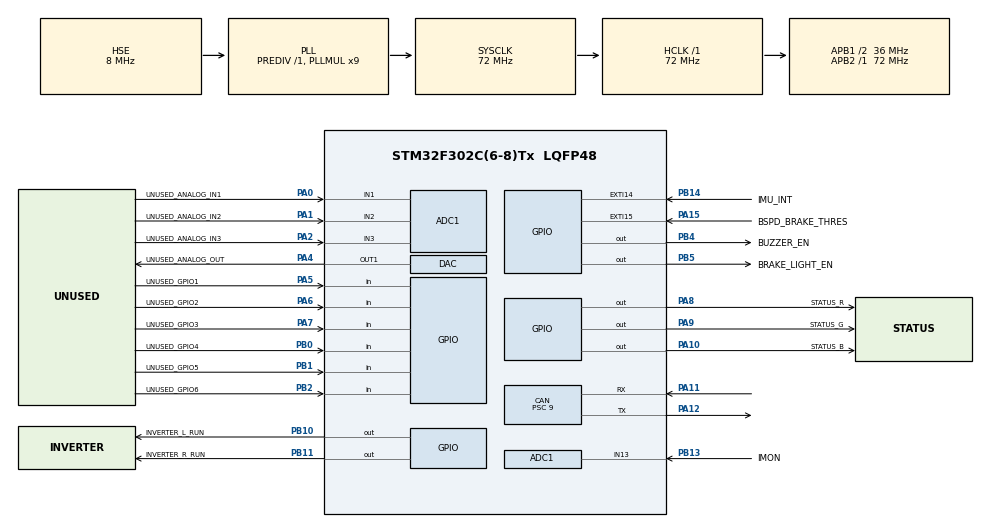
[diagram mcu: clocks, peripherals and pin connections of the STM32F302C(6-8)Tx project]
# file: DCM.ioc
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ADC1.Channel-0\#ChannelRegularConversion=ADC_CHANNEL_1
ADC1.NbrOfConversionFlag=1
ADC1.Offset-0\#ChannelRegularConversion=0
ADC1.OffsetNumber-0\#ChannelRegularConversion=ADC_OFFSET_NONE
ADC1.Rank-0\#ChannelRegularConversion=1
ADC1.SamplingTime-0\#ChannelRegularConversion=ADC_SAMPLETIME_1CYCLE_5
ADC1.SubFamily=STM32F302x8
ADC1.master=1
CAN.ABOM=ENABLE
CAN.BS1=CAN_BS1_6TQ
CAN.CalculateTimeQuantum=250.0
CAN.NART=ENABLE
CAN.Prescaler=9
CAN.RFLM=ENABLE
CAN.SJW=CAN_SJW_4TQ
CAN.TXFP=ENABLE
FREERTOS.INCLUDE_vTaskDelayUntil=1
FREERTOS.MEMORY_ALLOCATION=1
FREERTOS.Tasks01=Task1Hz,0,128,RunTask1Hz,Default,NULL,Static,Task1HzBuffer,Task1HzControlBlock;Task1kHz,0,128,RunTask1kHz,Default,NULL,Static,Task1kHzBuffer,Task1kHzControlBlock
FREERTOS.configUSE_TRACE_FACILITY=1
IWDG.Reload=LSI_FREQUENCY / IWDG_PRESCALER / IWDG_RESET_FREQUENCY
IWDG.Window=IWDG_WINDOW_DISABLE_VALUE
Mcu.Family=STM32F3
Mcu.Name=STM32F302C(6-8)Tx
Mcu.Package=LQFP48
Mcu.UserConstants=IWDG_WINDOW_DISABLE_VALUE,4095;LSI_FREQUENCY,40000;IWDG_PRESCALER,4;IWDG_RESET_FREQUENCY,5
NVIC.CAN_RX1_IRQn=true\:5\:0\:false\:false\:true\:true\:true\:true
NVIC.PriorityGroup=NVIC_PRIORITYGROUP_4
NVIC.TIM2_IRQn=true\:0\:0\:false\:false\:true\:false\:false\:true
NVIC.TimeBase=TIM2_IRQn
NVIC.TimeBaseIP=TIM2
NVIC.USB_HP_CAN_TX_IRQn=true\:5\:0\:false\:false\:true\:true\:true\:true
NVIC.USB_LP_CAN_RX0_IRQn=true\:5\:0\:false\:false\:true\:true\:true\:true
PA0.GPIO_Label=UNUSED_ANALOG_IN1
PA0.Mode=IN1-Single-Ended
PA0.Signal=ADC1_IN1
PA1.GPIO_Label=UNUSED_ANALOG_IN2
PA1.Mode=IN2-Single-Ended
PA1.Signal=ADC1_IN2
PA10.GPIO_Label=STATUS_B
PA10.GPIO_ModeDefaultOutputPP=GPIO_MODE_OUTPUT_OD
PA10.GPIO_PuPd=GPIO_PULLUP
PA10.PinState=GPIO_PIN_SET
PA10.Signal=GPIO_Output
PA11.Mode=Master
PA11.Signal=CAN_RX
PA12.Mode=Master
PA12.Signal=CAN_TX
PA13.Mode=Serial_Wire
PA13.Signal=SYS_JTMS-SWDIO
PA14.Mode=Serial_Wire
PA14.Signal=SYS_JTCK-SWCLK
PA15.GPIO_Label=BSPD_BRAKE_THRES
PA15.Signal=GPXTI15
PA2.GPIO_Label=UNUSED_ANALOG_IN3
PA2.Mode=IN3-Single-Ended
PA2.Signal=ADC1_IN3
PA4.GPIO_Label=UNUSED_ANALOG_OUT
PA4.Signal=COMP_DAC1_group
PA5.GPIO_Label=UNUSED_GPIO1
PA5.Signal=GPIO_Input
PA6.GPIO_Label=UNUSED_GPIO2
PA6.Signal=GPIO_Input
PA7.GPIO_Label=UNUSED_GPIO3
PA7.Signal=GPIO_Input
PA8.GPIO_Label=STATUS_R
PA8.GPIO_ModeDefaultOutputPP=GPIO_MODE_OUTPUT_OD
PA8.GPIO_PuPd=GPIO_PULLUP
PA8.PinState=GPIO_PIN_SET
PA8.Signal=GPIO_Output
PA9.GPIO_Label=STATUS_G
PA9.GPIO_ModeDefaultOutputPP=GPIO_MODE_OUTPUT_OD
PA9.GPIO_PuPd=GPIO_PULLUP
PA9.PinState=GPIO_PIN_SET
PA9.Signal=GPIO_Output
PB0.GPIO_Label=UNUSED_GPIO4
PB0.Signal=GPIO_Input
PB1.GPIO_Label=UNUSED_GPIO5
PB1.Signal=GPIO_Input
PB10.GPIO_Label=INVERTER_L_RUN
PB10.Signal=GPIO_Output
PB11.GPIO_Label=INVERTER_R_RUN
PB11.Signal=GPIO_Output
PB13.GPIO_Label=IMON
PB13.Mode=IN13-Single-Ended
PB13.Signal=ADC1_IN13
PB14.GPIO_Label=IMU_INT
PB14.Signal=GPXTI14
PB2.GPIO_Label=UNUSED_GPIO6
PB2.Signal=GPIO_Input
PB3.Signal=SYS_JTDO-TRACESWO
PB4.GPIO_Label=BUZZER_EN
PB4.Signal=GPIO_Output
PB5.GPIO_Label=BRAKE_LIGHT_EN
PB5.Signal=GPIO_Output
PB6.Signal=I2C1_SCL
PB7.Signal=I2C1_SDA
PC14\ -\ OSC32_IN.Mode=LSE-External-Oscillator
PC14\ -\ OSC32_IN.Signal=RCC_OSC32_IN
PC15\ -\ OSC32_OUT.Mode=LSE-External-Oscillator
PC15\ -\ OSC32_OUT.Signal=RCC_OSC32_OUT
PF0-OSC_IN.Mode=HSE-External-Oscillator
PF0-OSC_IN.Signal=RCC_OSC_IN
PF1-OSC_OUT.Mode=HSE-External-Oscillator
PF1-OSC_OUT.Signal=RCC_OSC_OUT
ProjectManager.HeapSize=0x0
ProjectManager.StackSize=0x400
ProjectManager.TargetToolchain=SW4STM32
RCC.AHBFreq_Value=72000000
RCC.APB1CLKDivider=RCC_HCLK_DIV2
RCC.APB1Freq_Value=36000000
RCC.APB1TimFreq_Value=72000000
RCC.APB2Freq_Value=72000000
RCC.APB2TimFreq_Value=72000000
RCC.CortexFreq_Value=72000000
RCC.HCLKFreq_Value=72000000
RCC.HSE_VALUE=8000000
RCC.HSI_VALUE=8000000
RCC.PLLMUL=RCC_PLL_MUL9
RCC.PLLSourceVirtual=RCC_PLLSOURCE_HSE
RCC.SYSCLKFreq_VALUE=72000000
RCC.SYSCLKSourceVirtual=RCC_SYSCLKSOURCE_PLLCLK
RCC.USBFreq_Value=72000000
SH.COMP_DAC1_group.0=DAC_OUT1,DAC_OUT1
VP_FREERTOS_VS_CMSIS_V1.Mode=CMSIS_V1
VP_IWDG_VS_IWDG.Mode=IWDG_Activate
VP_SYS_VS_tim2.Mode=TIM2
board=custom

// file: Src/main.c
/* USER CODE BEGIN Header */
/**
 ******************************************************************************
 * @file           : main.c
 * @brief          : Main program body
 ******************************************************************************
 * @attention
 *
 * <h2><center>&copy; Copyright (c) 2019 STMicroelectronics.
 * All rights reserved.</center></h2>
 *
 * This software component is licensed by ST under Ultimate Liberty license
 * SLA0044, the "License"; You may not use this file except in compliance with
 * the License. You may obtain a copy of the License at:
 *                             www.st.com/SLA0044
 *
 ******************************************************************************
 */
/* USER CODE END Header */

#include "main.h"
#include "cmsis_os.h"

/* USER CODE BEGIN Includes */
#include "SharedWatchdog.h"
#include "SharedConstants.h"
#include "SharedCmsisOs.h"
#include "SharedCan.h"
#include "SharedHeartbeat.h"
#include "Io_Can.h"
/* USER CODE END Includes */

ADC_HandleTypeDef hadc1;

CAN_HandleTypeDef hcan;

DAC_HandleTypeDef hdac;

IWDG_HandleTypeDef hiwdg;

osThreadId          Task1HzHandle;
uint32_t            Task1HzBuffer[128];
osStaticThreadDef_t Task1HzControlBlock;
osThreadId          Task1kHzHandle;
uint32_t            Task1kHzBuffer[128];
osStaticThreadDef_t Task1kHzControlBlock;

void        SystemClock_Config(void);
static void MX_GPIO_Init(void);
static void MX_ADC1_Init(void);
static void MX_CAN_Init(void);
static void MX_DAC_Init(void);
static void MX_IWDG_Init(void);
void        RunTask1Hz(void const *argument);
void        RunTask1kHz(void const *argument);

int main(void)
{
    /* USER CODE BEGIN 1 */
    __HAL_DBGMCU_FREEZE_IWDG();
    /* USER CODE END 1 */

    /* MCU
     * Configuration--------------------------------------------------------*/

    /* Reset of all peripherals, Initializes the Flash interface and the
     * Systick. */
    HAL_Init();

    /* Configure the system clock */
    SystemClock_Config();

    /* Initialize all configured peripherals */
    MX_GPIO_Init();
    MX_ADC1_Init();
    MX_CAN_Init();
    MX_DAC_Init();
    MX_IWDG_Init();

    /* Create the thread(s) */
    /* definition and creation of Task1Hz */
    osThreadStaticDef(
        Task1Hz, RunTask1Hz, osPriorityNormal, 0, 128, Task1HzBuffer,
        &Task1HzControlBlock);
    Task1HzHandle = osThreadCreate(osThread(Task1Hz), NULL);

    /* definition and creation of Task1kHz */
    osThreadStaticDef(
        Task1kHz, RunTask1kHz, osPriorityNormal, 0, 128, Task1kHzBuffer,
        &Task1kHzControlBlock);
    Task1kHzHandle = osThreadCreate(osThread(Task1kHz), NULL);

    /* USER CODE BEGIN RTOS_THREADS */
    /* add threads, ... */
    // According to Percpio documentation, vTraceEnable() should be the last
    // function call before the scheduler starts.
#if (configUSE_TRACE_FACILITY == 1)
    vTraceEnable(TRC_INIT);
#endif
    /* USER CODE END RTOS_THREADS */

    /* Start scheduler */
    osKernelStart();

    /* We should never get here as control is now taken by the scheduler */

    /* Infinite loop */
    while (1)
    {

    }
}

void SystemClock_Config(void)
{
    RCC_OscInitTypeDef       RCC_OscInitStruct = { 0 };
    RCC_ClkInitTypeDef       RCC_ClkInitStruct = { 0 };
    RCC_PeriphCLKInitTypeDef PeriphClkInit     = { 0 };

    /** Initializes the CPU, AHB and APB busses clocks
     */
    RCC_OscInitStruct.OscillatorType =
        RCC_OSCILLATORTYPE_LSI | RCC_OSCILLATORTYPE_HSE;
    RCC_OscInitStruct.HSEState       = RCC_HSE_ON;
    RCC_OscInitStruct.HSEPredivValue = RCC_HSE_PREDIV_DIV1;
    RCC_OscInitStruct.HSIState       = RCC_HSI_ON;
    RCC_OscInitStruct.LSIState       = RCC_LSI_ON;
    RCC_OscInitStruct.PLL.PLLState   = RCC_PLL_ON;
    RCC_OscInitStruct.PLL.PLLSource  = RCC_PLLSOURCE_HSE;
    RCC_OscInitStruct.PLL.PLLMUL     = RCC_PLL_MUL9;
    if (HAL_RCC_OscConfig(&RCC_OscInitStruct) != HAL_OK)
    {
        Error_Handler();
    }
    /** Initializes the CPU, AHB and APB busses clocks
     */
    RCC_ClkInitStruct.ClockType = RCC_CLOCKTYPE_HCLK | RCC_CLOCKTYPE_SYSCLK |
                                  RCC_CLOCKTYPE_PCLK1 | RCC_CLOCKTYPE_PCLK2;
    RCC_ClkInitStruct.SYSCLKSource   = RCC_SYSCLKSOURCE_PLLCLK;
    RCC_ClkInitStruct.AHBCLKDivider  = RCC_SYSCLK_DIV1;
    RCC_ClkInitStruct.APB1CLKDivider = RCC_HCLK_DIV2;
    RCC_ClkInitStruct.APB2CLKDivider = RCC_HCLK_DIV1;

    if (HAL_RCC_ClockConfig(&RCC_ClkInitStruct, FLASH_LATENCY_2) != HAL_OK)
    {
        Error_Handler();
    }
    PeriphClkInit.PeriphClockSelection = RCC_PERIPHCLK_ADC1;
    PeriphClkInit.Adc1ClockSelection   = RCC_ADC1PLLCLK_DIV1;

    if (HAL_RCCEx_PeriphCLKConfig(&PeriphClkInit) != HAL_OK)
    {
        Error_Handler();
    }
}

static void MX_ADC1_Init(void)
{

    ADC_ChannelConfTypeDef sConfig = { 0 };

    /** Common config
     */
    hadc1.Instance                   = ADC1;
    hadc1.Init.ClockPrescaler        = ADC_CLOCK_ASYNC_DIV1;
    hadc1.Init.Resolution            = ADC_RESOLUTION_12B;
    hadc1.Init.ScanConvMode          = ADC_SCAN_DISABLE;
    hadc1.Init.ContinuousConvMode    = DISABLE;
    hadc1.Init.DiscontinuousConvMode = DISABLE;
    hadc1.Init.ExternalTrigConvEdge  = ADC_EXTERNALTRIGCONVEDGE_NONE;
    hadc1.Init.ExternalTrigConv      = ADC_SOFTWARE_START;
    hadc1.Init.DataAlign             = ADC_DATAALIGN_RIGHT;
    hadc1.Init.NbrOfConversion       = 1;
    hadc1.Init.DMAContinuousRequests = DISABLE;
    hadc1.Init.EOCSelection          = ADC_EOC_SINGLE_CONV;
    hadc1.Init.LowPowerAutoWait      = DISABLE;
    hadc1.Init.Overrun               = ADC_OVR_DATA_OVERWRITTEN;
    if (HAL_ADC_Init(&hadc1) != HAL_OK)
    {
        Error_Handler();
    }
    /** Configure Regular Channel
     */
    sConfig.Channel      = ADC_CHANNEL_1;
    sConfig.Rank         = ADC_REGULAR_RANK_1;
    sConfig.SingleDiff   = ADC_SINGLE_ENDED;
    sConfig.SamplingTime = ADC_SAMPLETIME_1CYCLE_5;
    sConfig.OffsetNumber = ADC_OFFSET_NONE;
    sConfig.Offset       = 0;
    if (HAL_ADC_ConfigChannel(&hadc1, &sConfig) != HAL_OK)
    {
        Error_Handler();
    }
}

static void MX_CAN_Init(void)
{

    hcan.Instance                  = CAN;
    hcan.Init.Prescaler            = 9;
    hcan.Init.Mode                 = CAN_MODE_NORMAL;
    hcan.Init.SyncJumpWidth        = CAN_SJW_4TQ;
    hcan.Init.TimeSeg1             = CAN_BS1_6TQ;
    hcan.Init.TimeSeg2             = CAN_BS2_1TQ;
    hcan.Init.TimeTriggeredMode    = DISABLE;
    hcan.Init.AutoBusOff           = ENABLE;
    hcan.Init.AutoWakeUp           = DISABLE;
    hcan.Init.AutoRetransmission   = ENABLE;
    hcan.Init.ReceiveFifoLocked    = ENABLE;
    hcan.Init.TransmitFifoPriority = ENABLE;
    if (HAL_CAN_Init(&hcan) != HAL_OK)
    {
        Error_Handler();
    }
    /* USER CODE BEGIN CAN_Init 2 */
    SharedCan_StartCanInInterruptMode(
        &hcan, Io_Can_GetCanMaskFilters(), Io_Can_GetNumberOfCanMaskFilters());
    /* USER CODE END CAN_Init 2 */
}

static void MX_DAC_Init(void)
{

    DAC_ChannelConfTypeDef sConfig = { 0 };

    /** DAC Initialization
     */
    hdac.Instance = DAC;
    if (HAL_DAC_Init(&hdac) != HAL_OK)
    {
        Error_Handler();
    }
    /** DAC channel OUT1 config
     */
    sConfig.DAC_Trigger      = DAC_TRIGGER_NONE;
    sConfig.DAC_OutputBuffer = DAC_OUTPUTBUFFER_ENABLE;
    if (HAL_DAC_ConfigChannel(&hdac, &sConfig, DAC_CHANNEL_1) != HAL_OK)
    {
        Error_Handler();
    }
}

static void MX_IWDG_Init(void)
{

    hiwdg.Instance       = IWDG;
    hiwdg.Init.Prescaler = IWDG_PRESCALER_4;
    hiwdg.Init.Window    = IWDG_WINDOW_DISABLE_VALUE;
    hiwdg.Init.Reload = LSI_FREQUENCY / IWDG_PRESCALER / IWDG_RESET_FREQUENCY;
    if (HAL_IWDG_Init(&hiwdg) != HAL_OK)
    {
        Error_Handler();
    }
    /* USER CODE BEGIN IWDG_Init 2 */
    SharedWatchdog_SetIwdgInitialized(&hiwdg);
    /* USER CODE END IWDG_Init 2 */
}

static void MX_GPIO_Init(void)
{
    GPIO_InitTypeDef GPIO_InitStruct = { 0 };

    /* GPIO Ports Clock Enable */
    __HAL_RCC_GPIOC_CLK_ENABLE();
    __HAL_RCC_GPIOF_CLK_ENABLE();
    __HAL_RCC_GPIOA_CLK_ENABLE();
    __HAL_RCC_GPIOB_CLK_ENABLE();

    /*Configure GPIO pin Output Level */
    HAL_GPIO_WritePin(
        GPIOB,
        INVERTER_L_RUN_Pin | INVERTER_R_RUN_Pin | BUZZER_EN_Pin |
            BRAKE_LIGHT_EN_Pin,
        GPIO_PIN_RESET);

    /*Configure GPIO pin Output Level */
    HAL_GPIO_WritePin(
        GPIOA, STATUS_R_Pin | STATUS_G_Pin | STATUS_B_Pin, GPIO_PIN_SET);

    /*Configure GPIO pin : PC13 */
    GPIO_InitStruct.Pin  = GPIO_PIN_13;
    GPIO_InitStruct.Mode = GPIO_MODE_ANALOG;
    GPIO_InitStruct.Pull = GPIO_NOPULL;
    HAL_GPIO_Init(GPIOC, &GPIO_InitStruct);

    /*Configure GPIO pin : PA3 */
    GPIO_InitStruct.Pin  = GPIO_PIN_3;
    GPIO_InitStruct.Mode = GPIO_MODE_ANALOG;
    GPIO_InitStruct.Pull = GPIO_NOPULL;
    HAL_GPIO_Init(GPIOA, &GPIO_InitStruct);

    /*Configure GPIO pins : UNUSED_GPIO1_Pin UNUSED_GPIO2_Pin UNUSED_GPIO3_Pin
     */
    GPIO_InitStruct.Pin =
        UNUSED_GPIO1_Pin | UNUSED_GPIO2_Pin | UNUSED_GPIO3_Pin;
    GPIO_InitStruct.Mode = GPIO_MODE_INPUT;
    GPIO_InitStruct.Pull = GPIO_NOPULL;
    HAL_GPIO_Init(GPIOA, &GPIO_InitStruct);

    /*Configure GPIO pins : UNUSED_GPIO4_Pin UNUSED_GPIO5_Pin UNUSED_GPIO6_Pin
     */
    GPIO_InitStruct.Pin =
        UNUSED_GPIO4_Pin | UNUSED_GPIO5_Pin | UNUSED_GPIO6_Pin;
    GPIO_InitStruct.Mode = GPIO_MODE_INPUT;
    GPIO_InitStruct.Pull = GPIO_NOPULL;
    HAL_GPIO_Init(GPIOB, &GPIO_InitStruct);

    /*Configure GPIO pins : INVERTER_L_RUN_Pin INVERTER_R_RUN_Pin BUZZER_EN_Pin
     * BRAKE_LIGHT_EN_Pin */
    GPIO_InitStruct.Pin = INVERTER_L_RUN_Pin | INVERTER_R_RUN_Pin |
                          BUZZER_EN_Pin | BRAKE_LIGHT_EN_Pin;
    GPIO_InitStruct.Mode  = GPIO_MODE_OUTPUT_PP;
    GPIO_InitStruct.Pull  = GPIO_NOPULL;
    GPIO_InitStruct.Speed = GPIO_SPEED_FREQ_LOW;
    HAL_GPIO_Init(GPIOB, &GPIO_InitStruct);

    /*Configure GPIO pins : PB12 PB15 PB8 PB9 */
    GPIO_InitStruct.Pin  = GPIO_PIN_12 | GPIO_PIN_15 | GPIO_PIN_8 | GPIO_PIN_9;
    GPIO_InitStruct.Mode = GPIO_MODE_ANALOG;
    GPIO_InitStruct.Pull = GPIO_NOPULL;
    HAL_GPIO_Init(GPIOB, &GPIO_InitStruct);

    /*Configure GPIO pin : IMU_INT_Pin */
    GPIO_InitStruct.Pin  = IMU_INT_Pin;
    GPIO_InitStruct.Mode = GPIO_MODE_IT_RISING;
    GPIO_InitStruct.Pull = GPIO_NOPULL;
    HAL_GPIO_Init(IMU_INT_GPIO_Port, &GPIO_InitStruct);

    /*Configure GPIO pins : STATUS_R_Pin STATUS_G_Pin STATUS_B_Pin */
    GPIO_InitStruct.Pin   = STATUS_R_Pin | STATUS_G_Pin | STATUS_B_Pin;
    GPIO_InitStruct.Mode  = GPIO_MODE_OUTPUT_OD;
    GPIO_InitStruct.Pull  = GPIO_PULLUP;
    GPIO_InitStruct.Speed = GPIO_SPEED_FREQ_LOW;
    HAL_GPIO_Init(GPIOA, &GPIO_InitStruct);

    /*Configure GPIO pin : BSPD_BRAKE_THRES_Pin */
    GPIO_InitStruct.Pin  = BSPD_BRAKE_THRES_Pin;
    GPIO_InitStruct.Mode = GPIO_MODE_IT_RISING;
    GPIO_InitStruct.Pull = GPIO_NOPULL;
    HAL_GPIO_Init(BSPD_BRAKE_THRES_GPIO_Port, &GPIO_InitStruct);

    /*Configure GPIO pins : PB6 PB7 */
    GPIO_InitStruct.Pin       = GPIO_PIN_6 | GPIO_PIN_7;
    GPIO_InitStruct.Mode      = GPIO_MODE_AF_OD;
    GPIO_InitStruct.Pull      = GPIO_PULLUP;
    GPIO_InitStruct.Speed     = GPIO_SPEED_FREQ_HIGH;
    GPIO_InitStruct.Alternate = GPIO_AF4_I2C1;
    HAL_GPIO_Init(GPIOB, &GPIO_InitStruct);
}

void RunTask1Hz(void const *argument)
{
    /* USER CODE BEGIN 5 */
    UNUSED(argument);
    uint32_t PreviousWakeTime = osKernelSysTick();

    for (;;)
    {
        (void)SharedCmsisOs_osDelayUntilMs(&PreviousWakeTime, 1000U);
    }
    /* USER CODE END 5 */
}

void RunTask1kHz(void const *argument)
{
    /* USER CODE BEGIN RunTask1kHz */
    UNUSED(argument);
    uint32_t PreviousWakeTime = osKernelSysTick();

    for (;;)
    {
        SharedHeartbeat_BroadcastHeartbeat(
            CANMSGS_dcm_heartbeat_FRAME_ID, CANMSGS_DCM_HEARTBEAT_LENGTH);
        // TODO (#361) :Implement proper watchdog check-in mechanism
        SharedWatchdog_RefreshIwdg();
        (void)SharedCmsisOs_osDelayUntilMs(&PreviousWakeTime, 1U);
    }
    /* USER CODE END RunTask1kHz */
}

void HAL_TIM_PeriodElapsedCallback(TIM_HandleTypeDef *htim)
{
    if (htim->Instance == TIM2)
    {
        HAL_IncTick();
    }
}

void Error_Handler(void)
{
    /* USER CODE BEGIN Error_Handler_Debug */
    SharedHalHandler_ErrorHandler(file, line);
    /* USER CODE END Error_Handler_Debug */
}

#ifdef USE_FULL_ASSERT
/**
 * @brief  Reports the name of the source file and the source line number
 *         where the assert_param error has occurred.
 * @param  file: pointer to the source file name
 * @param  line: assert_param error line source number
 * @retval None
 */
void assert_failed(char *file, uint32_t line)
{
    /* USER CODE BEGIN 6 */
    SharedHalHandler_AssertFailed(file, line);
    /* USER CODE END 6 */
}
#endif /* USE_FULL_ASSERT */

/************************ (C) COPYRIGHT STMicroelectronics *****END OF FILE****/
